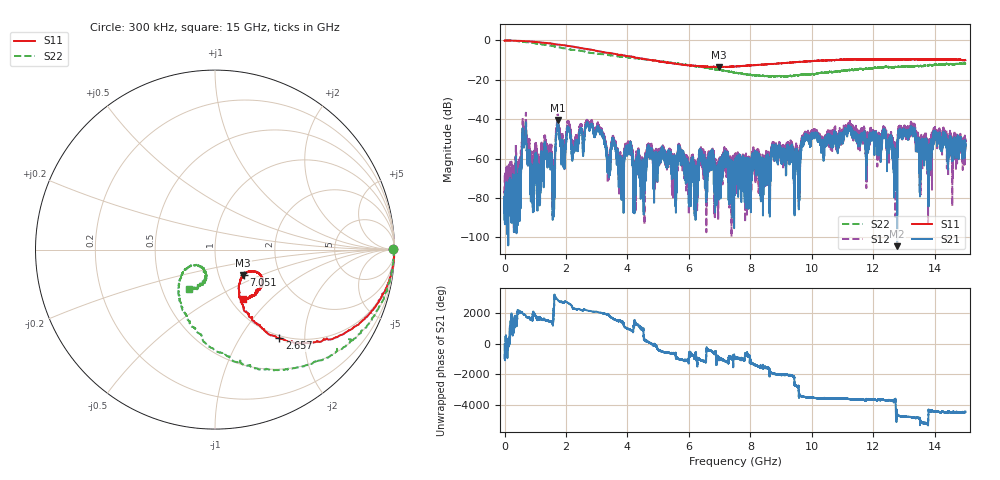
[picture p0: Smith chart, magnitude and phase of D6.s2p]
!Agilent Technologies,N5230C,SG49000117,A.08.50.07
!Agilent N5230C: A.08.50.07
!Date: Monday, December 11, 2023 23:27:49
!Correction: S11(Full 2 Port(1,2))
!S21(Full 2 Port(1,2))
!S12(Full 2 Port(1,2))
!S22(Full 2 Port(1,2))
!S2P File: Measurements: S11, S21, S12, S22:
# Hz S  RI  R 50
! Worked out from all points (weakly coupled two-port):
!   20001 points, 300 kHz to 15 GHz, reference 50 ohm
!   highest |S21| = -40.36 dB at 1.731 GHz (marker M1); lowest = -104.5 dB at 12.78 GHz (marker M2)
!   lowest |S11| = -13.5 dB at 6.974 GHz (marker M3), VSWR 1.54, Z = 65.4 - j19.3 ohm
!   |S11| at or under -10 dB: 4.805 GHz to 10.5 GHz (5.698 GHz wide, 74.4 % of centre); 10.50339 GHz to 10.52367 GHz (20.28 MHz wide, 0.193 % of centre); 10.52539 GHz to 10.55765 GHz (32.26 MHz wide, 0.306 % of centre) (the widest 3 of 57)
!   |S22| runs from -18.5 to 0.0 dB; largest |S21 - S12| = 0.0069
!   S11 on the Smith chart (normalised r, x): 300 kHz: open; 2.657 GHz: 0.96, -1.51; 7.051 GHz: 1.32, -0.38; 15 GHz: 1.14, -0.70
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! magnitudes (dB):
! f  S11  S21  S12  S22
! 300 kHz  -0.1  -82.6  -68.6  0.0
! 454.8 MHz  -0.2  -72.8  -68.8  -0.4
! 642.3 MHz  -0.3  -52.4  -47.6  -0.7
! 899.5 MHz  -0.6  -68.3  -67.6  -1.2
! 1.362 GHz  -1.3  -56.7  -56.1  -2.3
! 1.575 GHz  -1.7  -77.0  -69.5  -2.8
! 1.731 GHz  -2.1  -40.4  -37.9  -3.4
! 1.908 GHz  -2.4  -63.5  -60.5  -3.9
! 2.501 GHz  -3.9  -45.0  -43.2  -5.3
! 2.657 GHz  -4.3  -42.8  -40.9  -5.8
! 3.804 GHz  -7.3  -67.6  -66.1  -8.2
! 5 GHz  -10.5  -59.8  -55.1  -10.5
! 6.974 GHz  -13.5  -62.7  -68.2  -14.8
! 7.051 GHz  -13.5  -63.2  -61.2  -15.0
! 7.5 GHz  -13.2  -78.5  -60.6  -16.3
! 9.57 GHz  -10.9  -70.2  -73.1  -17.6
! 10 GHz  -10.4  -47.6  -45.6  -17.1
! 12.5 GHz  -9.7  -52.1  -49.2  -13.5
! 12.78 GHz  -9.6  -104.5  -54.3  -13.3
! 13.29 GHz  -9.4  -46.5  -45.1  -13.1
! 13.82 GHz  -9.6  -53.0  -55.2  -12.6
! 15 GHz  -10.0  -53.1  -55.2  -11.7
